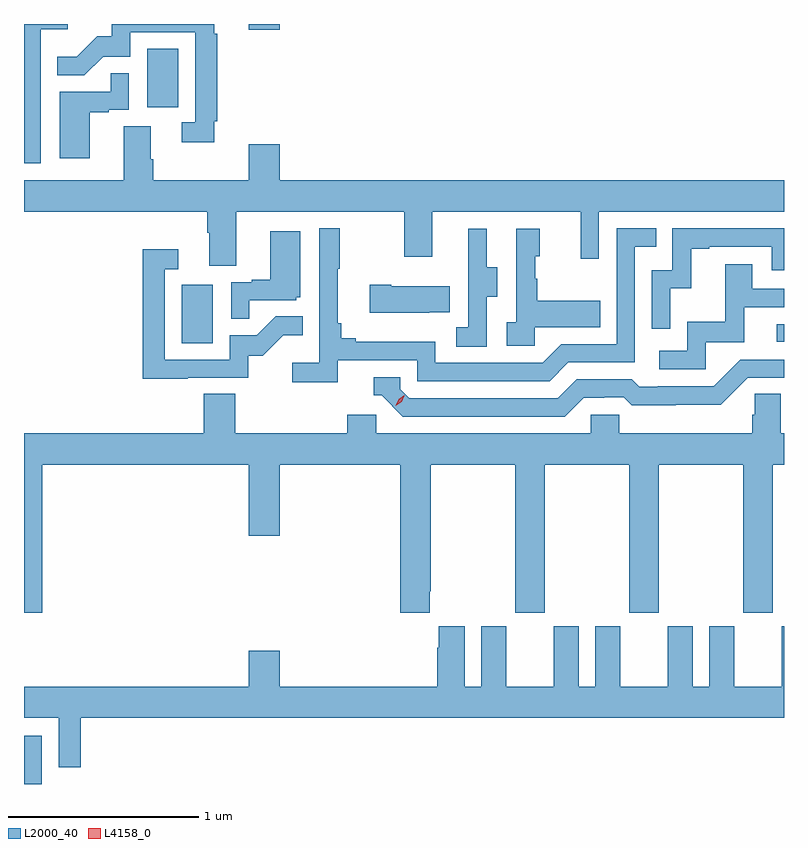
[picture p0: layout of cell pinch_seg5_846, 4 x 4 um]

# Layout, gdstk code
import gdstk
lib = gdstk.Library(unit=1e-6, precision=1e-09)
def R(c, l, rs):  # rectangles x0, y0, x1, y1
    for r in rs: c.add(gdstk.rectangle(r[:2], r[2:], *l))
def P(c, l, *ps):  # polygons
    for p in ps: c.add(gdstk.Polygon(p, *l))
L2000_40 = (2000, 40)
L4158_0 = (4158, 0)

pinch_seg5_846 = lib.new_cell('pinch_seg5_846')
R(pinch_seg5_846, L2000_40, [(823.165,872.395,823.258,872.65), (823.994,874.716,824.158,875.023), (827.127,874.722,827.165,874.815), (823.814,875.958,823.978,876.265), (824.348,876.366,824.512,876.395)])
P(pinch_seg5_846, L2000_40, [(823.254,876.368),(823.396,876.368),(823.396,876.395),(823.165,876.395),(823.165,875.661),(823.254,875.661)],
  [(824.165,875.884),(824.183,875.884),(824.183,876.344),(824.165,876.344),(824.165,876.395),(823.627,876.395),(823.627,876.33),(823.55,876.33),(823.443,876.223),(823.339,876.223),(823.339,876.124),(823.483,876.124),(823.581,876.222),(823.725,876.222),(823.725,876.351),(824.067,876.351),(824.067,875.877),(823.995,875.877),(823.995,875.772),(824.165,875.772)],
  [(823.51,875.931),(823.61,875.931),(823.61,875.943),(823.716,875.943),(823.716,876.137),(823.621,876.137),(823.621,876.039),(823.352,876.039),(823.352,875.688),(823.51,875.688)],
  [(824.512,875.761),(824.348,875.761),(824.348,875.572),(823.844,875.572),(823.844,875.684),(823.831,875.684),(823.831,875.858),(823.691,875.858),(823.691,875.572),(823.165,875.572),(823.165,875.408),(824.129,875.408),(824.129,875.296),(824.141,875.296),(824.141,875.122),(824.281,875.122),(824.281,875.408),(825.166,875.408),(825.166,875.169),(825.313,875.169),(825.313,875.408),(826.094,875.408),(826.094,875.16),(826.191,875.16),(826.191,875.408),(827.165,875.408),(827.165,875.572),(824.512,875.572)],
  [(824.816,874.626),(825.234,874.626),(825.234,874.515),(825.931,874.515),(826.03,874.614),(826.38,874.614),(826.38,875.223),(826.493,875.223),(826.493,875.319),(826.284,875.319),(826.284,874.71),(825.993,874.71),(825.894,874.611),(825.33,874.611),(825.33,874.723),(824.911,874.723),(824.911,874.742),(824.834,874.742),(824.834,874.819),(824.815,874.819),(824.815,875.107),(824.827,875.107),(824.827,875.32),(824.718,875.32),(824.718,874.612),(824.577,874.612),(824.577,874.51),(824.816,874.51)],
  [(826.566,875.003),(826.676,875.003),(826.676,875.211),(826.771,875.211),(826.771,875.223),(827.1,875.223),(827.1,875.1),(827.165,875.1),(827.165,875.319),(826.578,875.319),(826.578,875.1),(826.47,875.1),(826.47,874.791),(826.566,874.791)],
  [(825.852,874.799),(826.199,874.799),(826.199,874.939),(825.865,874.939),(825.865,875.054),(825.855,875.054),(825.855,875.172),(825.88,875.172),(825.88,875.317),(825.756,875.317),(825.756,874.826),(825.705,874.826),(825.705,874.701),(825.852,874.701)],
  [(825.6,874.96),(825.655,874.96),(825.655,875.115),(825.601,875.115),(825.601,875.317),(825.503,875.317),(825.503,875.103),(825.504,875.103),(825.504,874.799),(825.441,874.799),(825.441,874.696),(825.6,874.696)],
  [(824.351,874.941),(824.598,874.941),(824.598,874.956),(824.62,874.956),(824.62,875.305),(824.462,875.305),(824.462,875.05),(824.363,875.05),(824.363,875.037),(824.256,875.037),(824.256,874.843),(824.351,874.843)],
  [(824.027,874.533),(824.346,874.533),(824.346,874.65),(824.422,874.65),(824.529,874.757),(824.633,874.757),(824.633,874.856),(824.489,874.856),(824.391,874.758),(824.247,874.758),(824.247,874.629),(823.905,874.629),(823.905,875.103),(823.978,875.103),(823.978,875.209),(823.789,875.209),(823.789,874.528),(824.027,874.528)],
  [(826.752,874.719),(826.957,874.719),(826.957,874.905),(827.165,874.905),(827.165,875.001),(826.999,875.001),(826.999,875.131),(826.855,875.131),(826.855,874.828),(826.656,874.828),(826.656,874.674),(826.509,874.674),(826.509,874.578),(826.752,874.578)],
  [(825.299,874.877),(825.407,874.877),(825.407,875.014),(825.097,875.014),(825.097,875.022),(824.985,875.022),(824.985,874.874),(825.299,874.874)],
  [(826.111,874.428),(826.218,874.428),(826.218,874.431),(826.321,874.431),(826.363,874.389),(826.596,874.389),(826.596,874.391),(826.832,874.391),(826.974,874.533),(827.165,874.533),(827.165,874.629),(826.935,874.629),(826.794,874.488),(826.501,874.488),(826.501,874.485),(826.402,874.485),(826.363,874.524),(826.074,874.524),(825.975,874.425),(825.192,874.425),(825.144,874.473),(825.144,874.536),(825.005,874.536),(825.005,874.44),(825.048,874.44),(825.159,874.329),(826.012,874.329)],
  [(823.262,874.076),(824.348,874.076),(824.348,873.702),(824.512,873.702),(824.512,874.076),(825.146,874.076),(825.146,873.297),(825.301,873.297),(825.301,873.409),(825.306,873.409),(825.306,874.076),(825.751,874.076),(825.751,873.297),(825.906,873.297),(825.906,874.076),(826.351,874.076),(826.351,873.297),(826.506,873.297),(826.506,874.076),(826.951,874.076),(826.951,873.297),(827.106,873.297),(827.106,874.076),(827.165,874.076),(827.165,874.24),(827.148,874.24),(827.148,874.448),(827.011,874.448),(827.011,874.338),(826.997,874.338),(826.997,874.24),(826.299,874.24),(826.299,874.338),(826.149,874.338),(826.149,874.24),(825.018,874.24),(825.018,874.338),(824.867,874.338),(824.867,874.24),(824.276,874.24),(824.276,874.448),(824.111,874.448),(824.111,874.24),(823.165,874.24),(823.165,873.297),(823.262,873.297)],
  [(823.463,872.744),(827.165,872.744),(827.165,873.226),(827.153,873.226),(827.153,872.908),(826.903,872.908),(826.903,873.226),(826.772,873.226),(826.772,872.908),(826.684,872.908),(826.684,873.226),(826.553,873.226),(826.553,872.908),(826.303,872.908),(826.303,873.226),(826.172,873.226),(826.172,872.908),(826.084,872.908),(826.084,873.226),(825.953,873.226),(825.953,872.908),(825.703,872.908),(825.703,873.226),(825.572,873.226),(825.572,872.908),(825.484,872.908),(825.484,873.226),(825.347,873.226),(825.347,873.113),(825.341,873.113),(825.341,872.908),(824.512,872.908),(824.512,873.097),(824.348,873.097),(824.348,872.908),(823.165,872.908),(823.165,872.744),(823.347,872.744),(823.347,872.484),(823.463,872.484)])
P(pinch_seg5_846, L4158_0, [(825.121,874.386),(825.121,874.387),(825.137,874.42),(825.167,874.44),(825.167,874.44),(825.167,874.439),(825.152,874.406),(825.121,874.386)])

lib.write_gds('pinch_seg5_846.gds')
